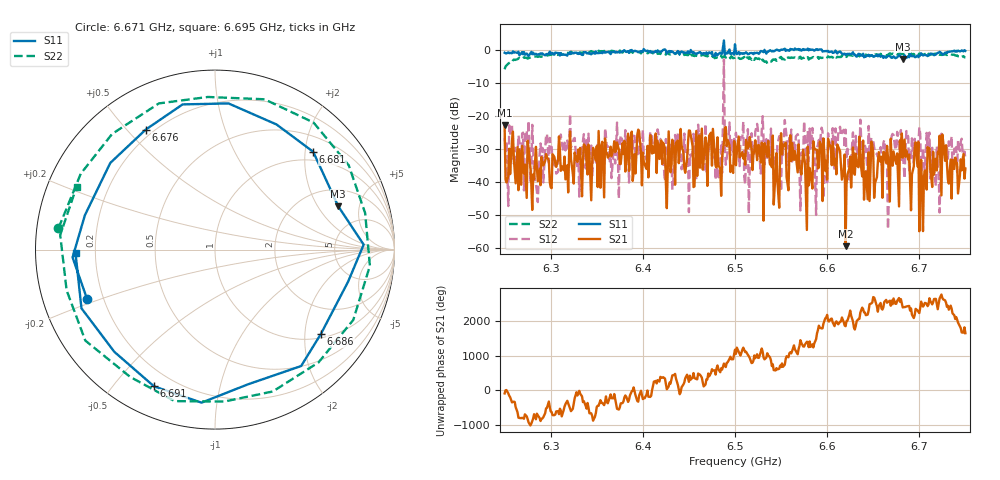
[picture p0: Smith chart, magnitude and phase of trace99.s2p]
# Hz S RI R 50
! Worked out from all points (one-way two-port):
!   401 points, 6.25 GHz to 6.75 GHz, reference 50 ohm
!   highest |S21| = -22.68 dB at 6.25 GHz (marker M1); lowest = -59.3 dB at 6.62 GHz (marker M2)
!   lowest |S11| = -2.8 dB at 6.682 GHz (marker M3), VSWR 6.35, Z = 150 + j154 ohm
!   |S11| at or under -10 dB: nowhere
!   |S22| runs from -5.9 to -0.2 dB; largest |S21 - S12| = 0.75
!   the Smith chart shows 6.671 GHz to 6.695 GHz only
!   S11 on the Smith chart (normalised r, x): 6.671 GHz: 0.14, -0.18; 6.676 GHz: 0.17, +0.56; 6.681 GHz: 0.80, +2.17; 6.686 GHz: 1.11, -2.42; 6.691 GHz: 0.13, -0.64; 6.695 GHz: 0.13, -0.01
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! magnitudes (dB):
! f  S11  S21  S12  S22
! 6.25 GHz  -0.9  -22.7  -26.5  -5.9
! 6.285 GHz  -1.4  -35.5  -42.7  -2.0
! 6.296 GHz  -1.2  -32.4  -25.4  -1.6
! 6.334 GHz  -1.5  -44.3  -30.7  -0.9
! 6.418 GHz  -0.6  -33.0  -26.9  -1.0
! 6.5 GHz  1.7  -28.2  -28.2  -2.4
! 6.512 GHz  -0.7  -27.2  -33.0  -2.3
! 6.522 GHz  -1.0  -27.3  -24.7  -2.5
! 6.584 GHz  0.1  -41.9  -23.6  -2.3
! 6.604 GHz  -0.5  -29.4  -30.2  -2.2
! 6.62 GHz  -1.6  -59.3  -24.1  -1.7
! 6.668 GHz  -1.8  -45.8  -35.2  -1.1
! 6.671 GHz  -2.3  -35.0  -25.4  -1.1
! 6.676 GHz  -2.2  -31.3  -24.8  -1.4
! 6.681 GHz  -2.2  -25.3  -33.8  -1.3
! 6.682 GHz  -2.8  -32.6  -30.8  -1.2
! 6.686 GHz  -2.5  -30.4  -24.5  -1.4
! 6.691 GHz  -1.6  -48.5  -32.4  -1.1
! 6.695 GHz  -2.2  -29.2  -26.9  -1.4
! 6.702 GHz  -1.0  -33.3  -40.0  -1.4
! 6.728 GHz  -0.9  -33.6  -31.2  -1.4
! 6.75 GHz  -0.3  -35.9  -32.6  -2.3
